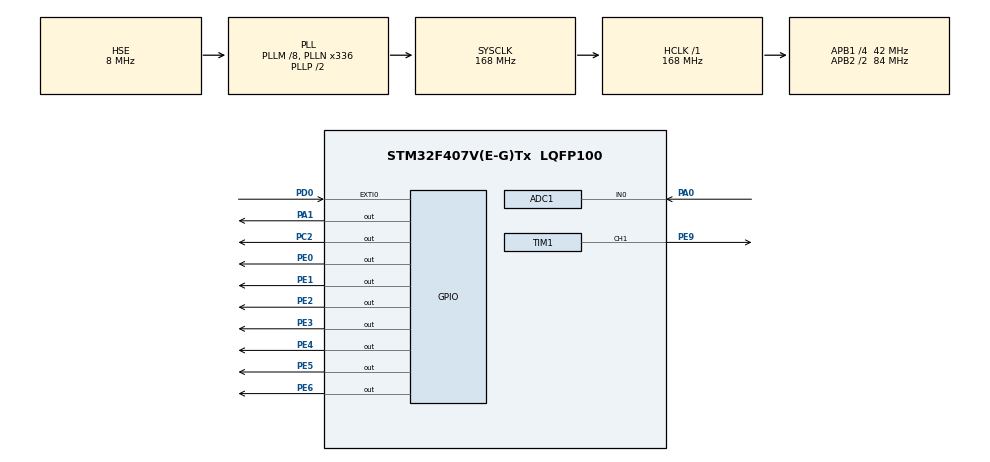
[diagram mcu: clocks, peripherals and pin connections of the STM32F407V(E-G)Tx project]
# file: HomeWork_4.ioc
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ADC1.Channel-0\#ChannelRegularConversion=ADC_CHANNEL_0
ADC1.ContinuousConvMode=ENABLE
ADC1.NbrOfConversionFlag=1
ADC1.Rank-0\#ChannelRegularConversion=1
ADC1.SamplingTime-0\#ChannelRegularConversion=ADC_SAMPLETIME_3CYCLES
ADC1.master=1
Mcu.Family=STM32F4
Mcu.Name=STM32F407V(E-G)Tx
Mcu.Package=LQFP100
NVIC.EXTI0_IRQn=true\:0\:0\:false\:false\:true\:true\:true\:true
NVIC.PriorityGroup=NVIC_PRIORITYGROUP_0
NVIC.RCC_IRQn=true\:0\:0\:false\:false\:true\:true\:false\:true
NVIC.TIM1_CC_IRQn=true\:0\:0\:false\:false\:true\:true\:true\:true
PA0-WKUP.Signal=ADCx_IN0
PA1.Signal=GPIO_Output
PA13.Mode=Serial_Wire
PA13.Signal=SYS_JTMS-SWDIO
PA14.Mode=Serial_Wire
PA14.Signal=SYS_JTCK-SWCLK
PC2.Signal=GPIO_Output
PD0.Signal=GPXTI0
PE0.Signal=GPIO_Output
PE1.Signal=GPIO_Output
PE2.Signal=GPIO_Output
PE3.Signal=GPIO_Output
PE4.Signal=GPIO_Output
PE5.Signal=GPIO_Output
PE6.Signal=GPIO_Output
PE9.Signal=S_TIM1_CH1
PH0-OSC_IN.Mode=HSE-External-Oscillator
PH0-OSC_IN.Signal=RCC_OSC_IN
PH1-OSC_OUT.Mode=HSE-External-Oscillator
PH1-OSC_OUT.Signal=RCC_OSC_OUT
ProjectManager.HeapSize=0x200
ProjectManager.StackSize=0x400
ProjectManager.TargetToolchain=STM32CubeIDE
RCC.48MHZClocksFreq_Value=48000000
RCC.AHBFreq_Value=168000000
RCC.APB1CLKDivider=RCC_HCLK_DIV4
RCC.APB1Freq_Value=42000000
RCC.APB1TimFreq_Value=84000000
RCC.APB2CLKDivider=RCC_HCLK_DIV2
RCC.APB2Freq_Value=84000000
RCC.APB2TimFreq_Value=168000000
RCC.CortexFreq_Value=168000000
RCC.HCLKFreq_Value=168000000
RCC.HSE_VALUE=8000000
RCC.HSI_VALUE=16000000
RCC.LSE_VALUE=32768
RCC.PLLM=8
RCC.PLLN=336
RCC.PLLQ=7
RCC.PLLSourceVirtual=RCC_PLLSOURCE_HSE
RCC.SYSCLKFreq_VALUE=168000000
RCC.SYSCLKSource=RCC_SYSCLKSOURCE_PLLCLK
RCC.VCOOutputFreq_Value=336000000
SH.ADCx_IN0.0=ADC1_IN0,IN0
SH.S_TIM1_CH1.0=TIM1_CH1,PWM Generation1 CH1
TIM1.AutoReloadPreload=TIM_AUTORELOAD_PRELOAD_DISABLE
TIM1.Channel-PWM\ Generation1\ CH1=TIM_CHANNEL_1
TIM1.Period=420
TIM1.Prescaler=8400
TIM2.Period=499
TIM2.Prescaler=41999
VP_TIM1_VS_ClockSourceINT.Mode=Internal
VP_TIM2_VS_ClockSourceINT.Mode=Internal
board=STM32F407G-DISC1

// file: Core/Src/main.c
/* USER CODE BEGIN Header */
/**
  ******************************************************************************
  * @file           : main.c
  * @brief          : Main program body
  ******************************************************************************
  * @attention
  *
  * Copyright (c) 2023 STMicroelectronics.
  * All rights reserved.
  *
  * This software is licensed under terms that can be found in the LICENSE file
  * in the root directory of this software component.
  * If no LICENSE file comes with this software, it is provided AS-IS.
  *
  ******************************************************************************
  */
/* USER CODE END Header */
#include "main.h"

ADC_HandleTypeDef hadc1;

TIM_HandleTypeDef htim1;
TIM_HandleTypeDef htim2;

/* USER CODE BEGIN PV */

uint16_t buttonCount = 0;
uint8_t number = 0;
float voltage;
uint16_t adc_value;
uint8_t temperatureLevel;
uint8_t i =0;

/* USER CODE END PV */

void SystemClock_Config(void);
static void MX_GPIO_Init(void);
static void MX_ADC1_Init(void);
static void MX_TIM2_Init(void);
static void MX_TIM1_Init(void);

/* USER CODE BEGIN 0 */

uint8_t ReadTemperatureLevel(){

	uint8_t level;
	HAL_ADC_Start(&hadc1);
	HAL_ADC_PollForConversion(&hadc1, 100);

	adc_value = HAL_ADC_GetValue(&hadc1);
	voltage = adc_value * (3300 / 4095.0);	// returns mV
	float temperature = voltage /10;

   	if(temperature > 0 && temperature < 10){
		level = 1;
	}

	else if(temperature > 10.1 && temperature < 20){
		level = 2;
	}

	else if(temperature > 20.1 && temperature < 30){
		level = 3;
	}

	else if(temperature > 30.1 && temperature < 40){
		level = 4;
	}

	else if(temperature > 40.1 && temperature < 50){
		level = 5;
	}

	if(temperature > 50.1 && temperature < 60){
		level = 6;
	}

	else if(temperature > 60.1 && temperature < 70){
		level = 7;
	}

	else if(temperature > 70.1 && temperature < 80){
		level = 8;
	}

	else if(temperature > 80.1 && temperature < 90){
		level = 9;
	}

	else if(temperature > 90.1){
		level = 10;
	}

	return level;
}

uint8_t segmentNumber[10] = {
        0x3f,  // 0
        0x06,  // 1
        0x5b,  // 2
        0x4f,  // 3
        0x66,  // 4
        0x6d,  // 5
        0x7d,  // 6
        0x07,  // 7
        0x7f,  // 8
        0x6f   // 9
};

void SevenSegment_Update(uint8_t number){
	HAL_GPIO_WritePin(GPIOE, GPIO_PIN_0, ((number>>0)&0x01));
	HAL_GPIO_WritePin(GPIOE, GPIO_PIN_1, ((number>>1)&0x01));
	HAL_GPIO_WritePin(GPIOE, GPIO_PIN_2, ((number>>2)&0x01));
	HAL_GPIO_WritePin(GPIOE, GPIO_PIN_3, ((number>>3)&0x01));
	HAL_GPIO_WritePin(GPIOE, GPIO_PIN_4, ((number>>4)&0x01));
	HAL_GPIO_WritePin(GPIOE, GPIO_PIN_5, ((number>>5)&0x01));
	HAL_GPIO_WritePin(GPIOE, GPIO_PIN_6, ((number>>6)&0x01));
}

/*	This function will act like main function	*/
void HAL_GPIO_EXTI_Callback(uint16_t GPIO_Pin){

	if(HAL_GPIO_ReadPin(GPIOD, GPIO_PIN_0)){
		buttonCount ++;

		if (buttonCount %2 == 1){		// Initializes the system
			HAL_GPIO_WritePin(GPIOC, GPIO_PIN_2, SET);
			HAL_TIM_Base_Start_IT(&htim2);

		}

		else{		// Shuts down the system
			SevenSegment_Update(0);
			HAL_GPIO_WritePin(GPIOC, GPIO_PIN_2, RESET);
			HAL_TIM_Base_Stop_IT(&htim2);
		}

	}

}

void HAL_TIM_PeriodElapsedCallback(TIM_HandleTypeDef *htim){

	if (htim->Instance == TIM2){
	    temperatureLevel  = ReadTemperatureLevel();
	    SevenSegment_Update(segmentNumber[temperatureLevel-1]);
	}

    if (htim->Instance == TIM3){
    	int time = 168000;
    	HAL_GPIO_WritePin(GPIOA, GPIO_PIN_1,1);
    	while(time--);
    	HAL_GPIO_WritePin(GPIOA, GPIO_PIN_1,0);
    }

}

/* USER CODE END 0 */

int main(void)
{

  /* MCU Configuration--------------------------------------------------------*/

  /* Reset of all peripherals, Initializes the Flash interface and the Systick. */
  HAL_Init();

  /* Configure the system clock */
  SystemClock_Config();

  /* Initialize all configured peripherals */
  MX_GPIO_Init();
  MX_ADC1_Init();
  MX_TIM2_Init();
  MX_TIM1_Init();
  /* USER CODE BEGIN 2 */
  HAL_TIM_PWM_Start(&htim1, TIM_CHANNEL_1);

  number++;

  	  	__HAL_TIM_SET_COMPARE(&htim1, TIM_CHANNEL_1, number*50);

  	  	if(number == 10){
  	  		number = 0;
  	  	}
  /* USER CODE END 2 */

  /* Infinite loop */
  while (1)
  {

  }
}

void SystemClock_Config(void)
{
  RCC_OscInitTypeDef RCC_OscInitStruct = {0};
  RCC_ClkInitTypeDef RCC_ClkInitStruct = {0};

  /** Configure the main internal regulator output voltage
  */
  __HAL_RCC_PWR_CLK_ENABLE();
  __HAL_PWR_VOLTAGESCALING_CONFIG(PWR_REGULATOR_VOLTAGE_SCALE1);

  /** Initializes the RCC Oscillators according to the specified parameters
  * in the RCC_OscInitTypeDef structure.
  */
  RCC_OscInitStruct.OscillatorType = RCC_OSCILLATORTYPE_HSE;
  RCC_OscInitStruct.HSEState = RCC_HSE_ON;
  RCC_OscInitStruct.PLL.PLLState = RCC_PLL_ON;
  RCC_OscInitStruct.PLL.PLLSource = RCC_PLLSOURCE_HSE;
  RCC_OscInitStruct.PLL.PLLM = 8;
  RCC_OscInitStruct.PLL.PLLN = 336;
  RCC_OscInitStruct.PLL.PLLP = RCC_PLLP_DIV2;
  RCC_OscInitStruct.PLL.PLLQ = 7;
  if (HAL_RCC_OscConfig(&RCC_OscInitStruct) != HAL_OK)
  {
    Error_Handler();
  }

  /** Initializes the CPU, AHB and APB buses clocks
  */
  RCC_ClkInitStruct.ClockType = RCC_CLOCKTYPE_HCLK|RCC_CLOCKTYPE_SYSCLK
                              |RCC_CLOCKTYPE_PCLK1|RCC_CLOCKTYPE_PCLK2;
  RCC_ClkInitStruct.SYSCLKSource = RCC_SYSCLKSOURCE_PLLCLK;
  RCC_ClkInitStruct.AHBCLKDivider = RCC_SYSCLK_DIV1;
  RCC_ClkInitStruct.APB1CLKDivider = RCC_HCLK_DIV4;
  RCC_ClkInitStruct.APB2CLKDivider = RCC_HCLK_DIV2;

  if (HAL_RCC_ClockConfig(&RCC_ClkInitStruct, FLASH_LATENCY_5) != HAL_OK)
  {
    Error_Handler();
  }
}

static void MX_ADC1_Init(void)
{

  ADC_ChannelConfTypeDef sConfig = {0};

  /** Configure the global features of the ADC (Clock, Resolution, Data Alignment and number of conversion)
  */
  hadc1.Instance = ADC1;
  hadc1.Init.ClockPrescaler = ADC_CLOCK_SYNC_PCLK_DIV4;
  hadc1.Init.Resolution = ADC_RESOLUTION_12B;
  hadc1.Init.ScanConvMode = DISABLE;
  hadc1.Init.ContinuousConvMode = ENABLE;
  hadc1.Init.DiscontinuousConvMode = DISABLE;
  hadc1.Init.ExternalTrigConvEdge = ADC_EXTERNALTRIGCONVEDGE_NONE;
  hadc1.Init.ExternalTrigConv = ADC_SOFTWARE_START;
  hadc1.Init.DataAlign = ADC_DATAALIGN_RIGHT;
  hadc1.Init.NbrOfConversion = 1;
  hadc1.Init.DMAContinuousRequests = DISABLE;
  hadc1.Init.EOCSelection = ADC_EOC_SINGLE_CONV;
  if (HAL_ADC_Init(&hadc1) != HAL_OK)
  {
    Error_Handler();
  }

  /** Configure for the selected ADC regular channel its corresponding rank in the sequencer and its sample time.
  */
  sConfig.Channel = ADC_CHANNEL_0;
  sConfig.Rank = 1;
  sConfig.SamplingTime = ADC_SAMPLETIME_3CYCLES;
  if (HAL_ADC_ConfigChannel(&hadc1, &sConfig) != HAL_OK)
  {
    Error_Handler();
  }

}

static void MX_TIM1_Init(void)
{

  TIM_ClockConfigTypeDef sClockSourceConfig = {0};
  TIM_MasterConfigTypeDef sMasterConfig = {0};
  TIM_OC_InitTypeDef sConfigOC = {0};
  TIM_BreakDeadTimeConfigTypeDef sBreakDeadTimeConfig = {0};

  htim1.Instance = TIM1;
  htim1.Init.Prescaler = 8400;
  htim1.Init.CounterMode = TIM_COUNTERMODE_UP;
  htim1.Init.Period = 420;
  htim1.Init.ClockDivision = TIM_CLOCKDIVISION_DIV1;
  htim1.Init.RepetitionCounter = 0;
  htim1.Init.AutoReloadPreload = TIM_AUTORELOAD_PRELOAD_DISABLE;
  if (HAL_TIM_Base_Init(&htim1) != HAL_OK)
  {
    Error_Handler();
  }
  sClockSourceConfig.ClockSource = TIM_CLOCKSOURCE_INTERNAL;
  if (HAL_TIM_ConfigClockSource(&htim1, &sClockSourceConfig) != HAL_OK)
  {
    Error_Handler();
  }
  if (HAL_TIM_PWM_Init(&htim1) != HAL_OK)
  {
    Error_Handler();
  }
  sMasterConfig.MasterOutputTrigger = TIM_TRGO_RESET;
  sMasterConfig.MasterSlaveMode = TIM_MASTERSLAVEMODE_DISABLE;
  if (HAL_TIMEx_MasterConfigSynchronization(&htim1, &sMasterConfig) != HAL_OK)
  {
    Error_Handler();
  }
  sConfigOC.OCMode = TIM_OCMODE_PWM1;
  sConfigOC.Pulse = 0;
  sConfigOC.OCPolarity = TIM_OCPOLARITY_HIGH;
  sConfigOC.OCNPolarity = TIM_OCNPOLARITY_HIGH;
  sConfigOC.OCFastMode = TIM_OCFAST_DISABLE;
  sConfigOC.OCIdleState = TIM_OCIDLESTATE_RESET;
  sConfigOC.OCNIdleState = TIM_OCNIDLESTATE_RESET;
  if (HAL_TIM_PWM_ConfigChannel(&htim1, &sConfigOC, TIM_CHANNEL_1) != HAL_OK)
  {
    Error_Handler();
  }
  sBreakDeadTimeConfig.OffStateRunMode = TIM_OSSR_DISABLE;
  sBreakDeadTimeConfig.OffStateIDLEMode = TIM_OSSI_DISABLE;
  sBreakDeadTimeConfig.LockLevel = TIM_LOCKLEVEL_OFF;
  sBreakDeadTimeConfig.DeadTime = 0;
  sBreakDeadTimeConfig.BreakState = TIM_BREAK_DISABLE;
  sBreakDeadTimeConfig.BreakPolarity = TIM_BREAKPOLARITY_HIGH;
  sBreakDeadTimeConfig.AutomaticOutput = TIM_AUTOMATICOUTPUT_DISABLE;
  if (HAL_TIMEx_ConfigBreakDeadTime(&htim1, &sBreakDeadTimeConfig) != HAL_OK)
  {
    Error_Handler();
  }
  HAL_TIM_MspPostInit(&htim1);

}

static void MX_TIM2_Init(void)
{

  TIM_ClockConfigTypeDef sClockSourceConfig = {0};
  TIM_MasterConfigTypeDef sMasterConfig = {0};

  htim2.Instance = TIM2;
  htim2.Init.Prescaler = 41999;
  htim2.Init.CounterMode = TIM_COUNTERMODE_UP;
  htim2.Init.Period = 499;
  htim2.Init.ClockDivision = TIM_CLOCKDIVISION_DIV1;
  htim2.Init.AutoReloadPreload = TIM_AUTORELOAD_PRELOAD_DISABLE;
  if (HAL_TIM_Base_Init(&htim2) != HAL_OK)
  {
    Error_Handler();
  }
  sClockSourceConfig.ClockSource = TIM_CLOCKSOURCE_INTERNAL;
  if (HAL_TIM_ConfigClockSource(&htim2, &sClockSourceConfig) != HAL_OK)
  {
    Error_Handler();
  }
  sMasterConfig.MasterOutputTrigger = TIM_TRGO_RESET;
  sMasterConfig.MasterSlaveMode = TIM_MASTERSLAVEMODE_DISABLE;
  if (HAL_TIMEx_MasterConfigSynchronization(&htim2, &sMasterConfig) != HAL_OK)
  {
    Error_Handler();
  }

}

static void MX_GPIO_Init(void)
{
  GPIO_InitTypeDef GPIO_InitStruct = {0};

  /* GPIO Ports Clock Enable */
  __HAL_RCC_GPIOE_CLK_ENABLE();
  __HAL_RCC_GPIOH_CLK_ENABLE();
  __HAL_RCC_GPIOC_CLK_ENABLE();
  __HAL_RCC_GPIOA_CLK_ENABLE();
  __HAL_RCC_GPIOD_CLK_ENABLE();

  /*Configure GPIO pin Output Level */
  HAL_GPIO_WritePin(GPIOE, GPIO_PIN_2|GPIO_PIN_3|GPIO_PIN_4|GPIO_PIN_5
                          |GPIO_PIN_6|GPIO_PIN_0|GPIO_PIN_1, GPIO_PIN_RESET);

  /*Configure GPIO pin Output Level */
  HAL_GPIO_WritePin(GPIOC, GPIO_PIN_2, GPIO_PIN_RESET);

  /*Configure GPIO pin Output Level */
  HAL_GPIO_WritePin(GPIOA, GPIO_PIN_1, GPIO_PIN_RESET);

  /*Configure GPIO pins : PE2 PE3 PE4 PE5
                           PE6 PE0 PE1 */
  GPIO_InitStruct.Pin = GPIO_PIN_2|GPIO_PIN_3|GPIO_PIN_4|GPIO_PIN_5
                          |GPIO_PIN_6|GPIO_PIN_0|GPIO_PIN_1;
  GPIO_InitStruct.Mode = GPIO_MODE_OUTPUT_PP;
  GPIO_InitStruct.Pull = GPIO_NOPULL;
  GPIO_InitStruct.Speed = GPIO_SPEED_FREQ_LOW;
  HAL_GPIO_Init(GPIOE, &GPIO_InitStruct);

  /*Configure GPIO pin : PC2 */
  GPIO_InitStruct.Pin = GPIO_PIN_2;
  GPIO_InitStruct.Mode = GPIO_MODE_OUTPUT_PP;
  GPIO_InitStruct.Pull = GPIO_NOPULL;
  GPIO_InitStruct.Speed = GPIO_SPEED_FREQ_LOW;
  HAL_GPIO_Init(GPIOC, &GPIO_InitStruct);

  /*Configure GPIO pin : PA1 */
  GPIO_InitStruct.Pin = GPIO_PIN_1;
  GPIO_InitStruct.Mode = GPIO_MODE_OUTPUT_PP;
  GPIO_InitStruct.Pull = GPIO_NOPULL;
  GPIO_InitStruct.Speed = GPIO_SPEED_FREQ_LOW;
  HAL_GPIO_Init(GPIOA, &GPIO_InitStruct);

  /*Configure GPIO pin : PD0 */
  GPIO_InitStruct.Pin = GPIO_PIN_0;
  GPIO_InitStruct.Mode = GPIO_MODE_IT_RISING;
  GPIO_InitStruct.Pull = GPIO_NOPULL;
  HAL_GPIO_Init(GPIOD, &GPIO_InitStruct);

  /* EXTI interrupt init*/
  HAL_NVIC_SetPriority(EXTI0_IRQn, 0, 0);
  HAL_NVIC_EnableIRQ(EXTI0_IRQn);

}

void Error_Handler(void)
{
  __disable_irq();
  while (1)
  {
  }
}
